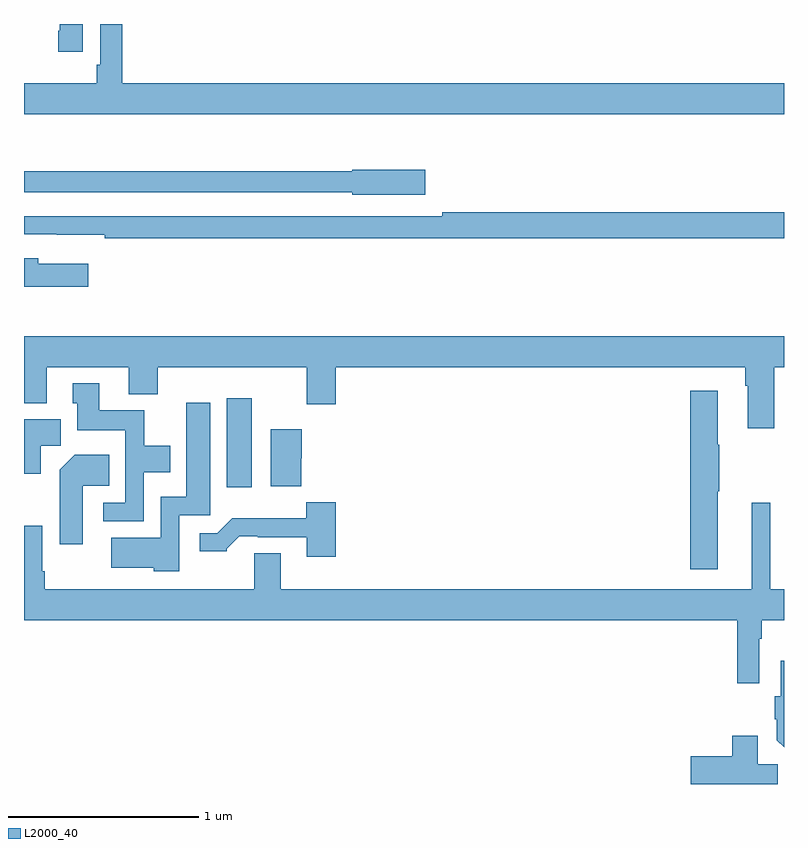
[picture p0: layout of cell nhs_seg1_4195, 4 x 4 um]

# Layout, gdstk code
import gdstk
lib = gdstk.Library(unit=1e-6, precision=1e-09)
def R(c, l, rs):  # rectangles x0, y0, x1, y1
    for r in rs: c.add(gdstk.rectangle(r[:2], r[2:], *l))
def P(c, l, *ps):  # polygons
    for p in ps: c.add(gdstk.Polygon(p, *l))
L2000_40 = (2000, 40)

nhs_seg1_4195 = lib.new_cell('nhs_seg1_4195')
R(nhs_seg1_4195, L2000_40, [(340.067,557.76,340.198,558.229)])
P(nhs_seg1_4195, L2000_40, [(339.31,560.199),(339.188,560.199),(339.188,560.164),(339.181,560.164),(339.181,560.052),(339.31,560.052)],
  [(343,559.888),(339.518,559.888),(339.518,560.199),(339.402,560.199),(339.402,559.984),(339.382,559.984),(339.382,559.888),(339,559.888),(339,559.724),(343,559.724)],
  [(341.113,559.431),(340.728,559.431),(340.728,559.423),(339,559.423),(339,559.314),(340.728,559.314),(340.728,559.301),(341.113,559.301)],
  [(343,559.208),(341.2,559.208),(341.2,559.188),(339,559.188),(339,559.092),(339.172,559.092),(339.172,559.091),(339.424,559.091),(339.424,559.072),(343,559.072)],
  [(339.337,558.937),(339.076,558.937),(339.076,558.966),(339,558.966),(339,558.815),(339.337,558.815)],
  [(339,558.203),(339.121,558.203),(339.121,558.392),(339.551,558.392),(339.551,558.251),(339.704,558.251),(339.704,558.392),(340.487,558.392),(340.487,558.198),(340.64,558.198),(340.64,558.392),(342.797,558.392),(342.797,558.296),(342.809,558.296),(342.809,558.072),(342.949,558.072),(342.949,558.392),(343,558.392),(343,558.556),(339,558.556)],
  [(339.63,557.84),(339.769,557.84),(339.769,557.98),(339.633,557.98),(339.633,558.166),(339.397,558.166),(339.397,558.307),(339.257,558.307),(339.257,558.204),(339.281,558.204),(339.281,558.062),(339.534,558.062),(339.534,557.679),(339.417,557.679),(339.417,557.583),(339.63,557.583)],
  [(342.652,557.74),(342.66,557.74),(342.66,557.984),(342.652,557.984),(342.652,558.268),(342.506,558.268),(342.506,557.328),(342.652,557.328)],
  [(339.816,557.613),(339.979,557.613),(339.979,558.205),(339.854,558.205),(339.854,557.71),(339.72,557.71),(339.72,557.494),(339.459,557.494),(339.459,557.336),(339.684,557.336),(339.684,557.318),(339.816,557.318)],
  [(339.088,557.98),(339.193,557.98),(339.193,558.118),(339,558.118),(339,557.832),(339.088,557.832)],
  [(340.46,557.913),(340.462,557.913),(340.462,558.067),(340.298,558.067),(340.298,557.765),(340.46,557.765)],
  [(339.31,557.768),(339.449,557.768),(339.449,557.932),(339.266,557.932),(339.188,557.854),(339.188,557.46),(339.31,557.46)],
  [(340.64,557.683),(340.485,557.683),(340.485,557.599),(340.096,557.599),(340.017,557.52),(339.924,557.52),(339.924,557.423),(340.068,557.423),(340.068,557.438),(340.132,557.502),(340.231,557.502),(340.231,557.499),(340.487,557.499),(340.487,557.394),(340.64,557.394)],
  [(342.87,556.964),(342.883,556.964),(342.883,557.06),(343,557.06),(343,557.224),(342.927,557.224),(342.927,557.68),(342.83,557.68),(342.83,557.224),(340.351,557.224),(340.351,557.414),(340.211,557.414),(340.211,557.224),(339.109,557.224),(339.109,557.32),(339.096,557.32),(339.096,557.557),(339,557.557),(339,557.06),(342.754,557.06),(342.754,556.728),(342.87,556.728)],
  [(343,556.849),(342.983,556.849),(342.983,556.662),(342.95,556.662),(342.95,556.54),(342.962,556.54),(342.962,556.43),(343,556.392)],
  [(342.967,556.304),(342.862,556.304),(342.862,556.453),(342.728,556.453),(342.728,556.346),(342.51,556.346),(342.51,556.199),(342.967,556.199)])

lib.write_gds('nhs_seg1_4195.gds')
